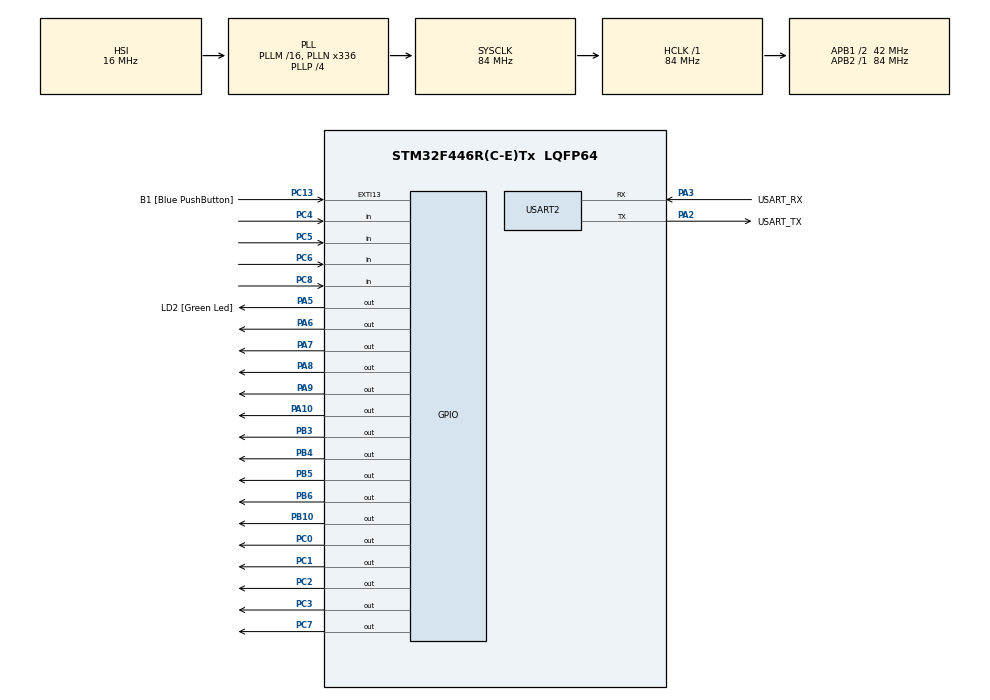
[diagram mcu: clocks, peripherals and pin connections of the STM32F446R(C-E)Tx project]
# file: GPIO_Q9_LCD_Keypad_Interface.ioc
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Mcu.Family=STM32F4
Mcu.Name=STM32F446R(C-E)Tx
Mcu.Package=LQFP64
NVIC.PriorityGroup=NVIC_PRIORITYGROUP_0
PA10.Signal=GPIO_Output
PA13.GPIO_Label=TMS
PA13.Mode=Serial_Wire
PA13.Signal=SYS_JTMS-SWDIO
PA14.GPIO_Label=TCK
PA14.Mode=Serial_Wire
PA14.Signal=SYS_JTCK-SWCLK
PA2.GPIO_Label=USART_TX
PA2.Mode=Asynchronous
PA2.Signal=USART2_TX
PA3.GPIO_Label=USART_RX
PA3.Mode=Asynchronous
PA3.Signal=USART2_RX
PA5.GPIO_Label=LD2 [Green Led]
PA5.Signal=GPIO_Output
PA6.Signal=GPIO_Output
PA7.Signal=GPIO_Output
PA8.Signal=GPIO_Output
PA9.Signal=GPIO_Output
PB10.Signal=GPIO_Output
PB3.Signal=GPIO_Output
PB4.Signal=GPIO_Output
PB5.Signal=GPIO_Output
PB6.Signal=GPIO_Output
PC0.Signal=GPIO_Output
PC1.Signal=GPIO_Output
PC13.GPIO_Label=B1 [Blue PushButton]
PC13.GPIO_ModeDefaultEXTI=GPIO_MODE_IT_FALLING
PC13.Signal=GPXTI13
PC14-OSC32_IN.Mode=LSE-External-Oscillator
PC14-OSC32_IN.Signal=RCC_OSC32_IN
PC15-OSC32_OUT.Mode=LSE-External-Oscillator
PC15-OSC32_OUT.Signal=RCC_OSC32_OUT
PC2.Signal=GPIO_Output
PC3.Signal=GPIO_Output
PC4.GPIO_PuPd=GPIO_PULLUP
PC4.Signal=GPIO_Input
PC5.GPIO_PuPd=GPIO_PULLUP
PC5.Signal=GPIO_Input
PC6.GPIO_PuPd=GPIO_PULLUP
PC6.Signal=GPIO_Input
PC7.Signal=GPIO_Output
PC8.GPIO_PuPd=GPIO_PULLUP
PC8.Signal=GPIO_Input
PH0-OSC_IN.Mode=HSE-External-Oscillator
PH0-OSC_IN.Signal=RCC_OSC_IN
PH1-OSC_OUT.Mode=HSE-External-Oscillator
PH1-OSC_OUT.Signal=RCC_OSC_OUT
ProjectManager.HeapSize=0x200
ProjectManager.StackSize=0x400
ProjectManager.TargetToolchain=STM32CubeIDE
RCC.48MHZClocksFreq_Value=84000000
RCC.AHBFreq_Value=84000000
RCC.APB1CLKDivider=RCC_HCLK_DIV2
RCC.APB1Freq_Value=42000000
RCC.APB1TimFreq_Value=84000000
RCC.APB2Freq_Value=84000000
RCC.APB2TimFreq_Value=84000000
RCC.CortexFreq_Value=84000000
RCC.FLatency-AdvancedSettings=FLASH_LATENCY_2
RCC.HCLKFreq_Value=84000000
RCC.HSE_VALUE=8000000
RCC.HSI_VALUE=16000000
RCC.PLLN=336
RCC.PLLP=RCC_PLLP_DIV4
RCC.SYSCLKFreq_VALUE=84000000
RCC.SYSCLKSource=RCC_SYSCLKSOURCE_PLLCLK
RCC.USBFreq_Value=168000000
RCC.VCOOutputFreq_Value=336000000
USART2.VirtualMode=VM_ASYNC
board=NUCLEO-F446RE

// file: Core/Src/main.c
/* USER CODE BEGIN Header */
/**
  ******************************************************************************
  * @file           : main.c
  * @brief          : Main program body
  ******************************************************************************
  * @attention
  *
  * Copyright (c) 2023 STMicroelectronics.
  * All rights reserved.
  *
  * This software is licensed under terms that can be found in the LICENSE file
  * in the root directory of this software component.
  * If no LICENSE file comes with this software, it is provided AS-IS.
  *
  ******************************************************************************
  */
/* USER CODE END Header */
#include "main.h"
#include "Lcd.h"

UART_HandleTypeDef huart2;

void SystemClock_Config(void);
static void MX_GPIO_Init(void);
static void MX_USART2_UART_Init(void);

int main(void)
{

  /* MCU Configuration--------------------------------------------------------*/

  /* Reset of all peripherals, Initializes the Flash interface and the Systick. */
  HAL_Init();

  /* Configure the system clock */
  SystemClock_Config();

  /* Initialize all configured peripherals */
  MX_GPIO_Init();
  MX_USART2_UART_Init();
  /* USER CODE BEGIN 2 */
  lcd_init();
  int count =0;
  int i[1]={count};
  /* USER CODE END 2 */

  /* Infinite loop */
  /* USER CODE BEGIN WHILE */
  while (1)
  {

	  HAL_GPIO_WritePin(GPIOC,GPIO_PIN_0,1);
	  HAL_GPIO_WritePin(GPIOC,GPIO_PIN_1,1);
	  HAL_GPIO_WritePin(GPIOC,GPIO_PIN_2,1);
	  HAL_GPIO_WritePin(GPIOC,GPIO_PIN_3,1);
	  HAL_GPIO_WritePin(GPIOC,GPIO_PIN_0,0);
//	  if(!(HAL_GPIO_ReadPin(GPIOC,GPIO_PIN_4)) && (HAL_GPIO_ReadPin(GPIOC,GPIO_PIN_5)))
//	  	  {
//
//	  		  lcd_cmd(0x01);
//	  		  HAL_Delay(1000);
//
//	  	  }
	  if(!(HAL_GPIO_ReadPin(GPIOC,GPIO_PIN_4)))
	  {
		  HAL_Delay(300);
		  printf("1 is pressed\n");
		  lcd_cmd(0x07);
		  lcd_display("1",1);
		  lcd_cmd(0x05);
	  }
	  if(!(HAL_GPIO_ReadPin(GPIOC,GPIO_PIN_5)))
	  {
		  HAL_Delay(300);
		  printf("2 is pressed\n");
		  lcd_cmd(0x07);
		  lcd_display("2",1);
		  lcd_cmd(0x05);
	  }
	  if(!(HAL_GPIO_ReadPin(GPIOC,GPIO_PIN_6)))
	  {
		  HAL_Delay(300);
		  printf("3 is pressed\n");
		  lcd_cmd(0x06);
		  lcd_display("3",1);
	  }
	  if(!(HAL_GPIO_ReadPin(GPIOC,GPIO_PIN_8)))
	  {
		  HAL_Delay(300);
		  printf("A is pressed\n");
		  lcd_cmd(0x06);
		  lcd_display("A",1);
	  }

	  HAL_GPIO_WritePin(GPIOC,GPIO_PIN_0,1);
	  HAL_GPIO_WritePin(GPIOC,GPIO_PIN_1,1);
	  HAL_GPIO_WritePin(GPIOC,GPIO_PIN_2,1);
	  HAL_GPIO_WritePin(GPIOC,GPIO_PIN_3,1);
	  HAL_GPIO_WritePin(GPIOC,GPIO_PIN_1,0);
	  if(!(HAL_GPIO_ReadPin(GPIOC,GPIO_PIN_4)))
	  {
		  HAL_Delay(300);
		  printf("4 is pressed\n");
		  HAL_Delay(300);
		  lcd_cmd(0x07);
		  lcd_display("4",1);
	  }
	  if(!(HAL_GPIO_ReadPin(GPIOC,GPIO_PIN_5)))
	  {
		  HAL_Delay(300);
		  printf("5 is pressed\n");
		  HAL_Delay(300);
		  lcd_cmd(0x07);
		  lcd_display("5",1);
	  }
	  if(!(HAL_GPIO_ReadPin(GPIOC,GPIO_PIN_6)))
	  {
		  HAL_Delay(300);
		  printf("6 is pressed\n");
		  HAL_Delay(300);
		  lcd_cmd(0x06);
		  lcd_display("6",1);
	  }
	  if(!(HAL_GPIO_ReadPin(GPIOC,GPIO_PIN_8)))
	  {
		  HAL_Delay(300);
		  printf("B is pressed\n");
		  HAL_Delay(300);
		  lcd_cmd(0x06);
		  lcd_display("B",1);
	  }

	  HAL_GPIO_WritePin(GPIOC,GPIO_PIN_0,1);
	  HAL_GPIO_WritePin(GPIOC,GPIO_PIN_1,1);
	  HAL_GPIO_WritePin(GPIOC,GPIO_PIN_2,1);
	  HAL_GPIO_WritePin(GPIOC,GPIO_PIN_3,1);
	  HAL_GPIO_WritePin(GPIOC,GPIO_PIN_2,0);
	  if(!(HAL_GPIO_ReadPin(GPIOC,GPIO_PIN_4)))
	  {
		  HAL_Delay(300);
		  printf("7 is pressed\n");
		  HAL_Delay(300);
		  lcd_cmd(0x06);
		  lcd_display("7",1);

	  }
	  if(!(HAL_GPIO_ReadPin(GPIOC,GPIO_PIN_5)))
	  {
		  HAL_Delay(300);
		  printf("8 is pressed\n");
		  HAL_Delay(300);
		  lcd_cmd(0x06);
		  lcd_display("8",1);

	  }
	  if(!(HAL_GPIO_ReadPin(GPIOC,GPIO_PIN_6)))
	  {
		  HAL_Delay(300);
		  printf("9 is pressed\n");
		  HAL_Delay(300);
		  lcd_cmd(0x06);
		  lcd_display("9",1);
	  }
	  if(!(HAL_GPIO_ReadPin(GPIOC,GPIO_PIN_8)))
	  {
		  HAL_Delay(300);
		  printf("C is pressed\n");
		  HAL_Delay(300);
		  lcd_cmd(0x06);
		  lcd_display("C",1);
	  }

	  HAL_GPIO_WritePin(GPIOC,GPIO_PIN_0,1);
	  HAL_GPIO_WritePin(GPIOC,GPIO_PIN_1,1);
	  HAL_GPIO_WritePin(GPIOC,GPIO_PIN_2,1);
	  HAL_GPIO_WritePin(GPIOC,GPIO_PIN_3,1);
	  HAL_GPIO_WritePin(GPIOC,GPIO_PIN_3,0);
	  if(!(HAL_GPIO_ReadPin(GPIOC,GPIO_PIN_4)))
	  {
		  HAL_Delay(300);
		  printf("* is pressed\n");
		  HAL_Delay(300);
		  lcd_cmd(0x06);
		  lcd_display("*",1);
	  }
	  if(!(HAL_GPIO_ReadPin(GPIOC,GPIO_PIN_5)))
	  {
		  HAL_Delay(300);
		  printf("0 is pressed\n");
		  HAL_Delay(300);
		  lcd_cmd(0x06);
		  lcd_display("0",1);
	  }
	  if(!(HAL_GPIO_ReadPin(GPIOC,GPIO_PIN_6)))
	  {
		  HAL_Delay(300);
		  printf("# is pressed\n");
		  HAL_Delay(300);
		  lcd_cmd(0x06);
		  lcd_display("#",1);
	  }
	  if(!(HAL_GPIO_ReadPin(GPIOC,GPIO_PIN_8)))
	  {
		  HAL_Delay(300);
		  printf("D is pressed\n");
		  HAL_Delay(300);
		  lcd_cmd(0x06);
		  lcd_display("D",1);
	  }
    /* USER CODE END WHILE */

  }
}

__attribute__((weak)) int _write(int file, char *ptr, int len)
{
  (void)file;
  int DataIdx;

  for (DataIdx = 0; DataIdx < len; DataIdx++)
  {
    //__io_putchar(*ptr++);
	  ITM_SendChar(*ptr++);
  }
  return len;
}

void SystemClock_Config(void)
{
  RCC_OscInitTypeDef RCC_OscInitStruct = {0};
  RCC_ClkInitTypeDef RCC_ClkInitStruct = {0};

  /** Configure the main internal regulator output voltage
  */
  __HAL_RCC_PWR_CLK_ENABLE();
  __HAL_PWR_VOLTAGESCALING_CONFIG(PWR_REGULATOR_VOLTAGE_SCALE3);

  /** Initializes the RCC Oscillators according to the specified parameters
  * in the RCC_OscInitTypeDef structure.
  */
  RCC_OscInitStruct.OscillatorType = RCC_OSCILLATORTYPE_HSI;
  RCC_OscInitStruct.HSIState = RCC_HSI_ON;
  RCC_OscInitStruct.HSICalibrationValue = RCC_HSICALIBRATION_DEFAULT;
  RCC_OscInitStruct.PLL.PLLState = RCC_PLL_ON;
  RCC_OscInitStruct.PLL.PLLSource = RCC_PLLSOURCE_HSI;
  RCC_OscInitStruct.PLL.PLLM = 16;
  RCC_OscInitStruct.PLL.PLLN = 336;
  RCC_OscInitStruct.PLL.PLLP = RCC_PLLP_DIV4;
  RCC_OscInitStruct.PLL.PLLQ = 2;
  RCC_OscInitStruct.PLL.PLLR = 2;
  if (HAL_RCC_OscConfig(&RCC_OscInitStruct) != HAL_OK)
  {
    Error_Handler();
  }

  /** Initializes the CPU, AHB and APB buses clocks
  */
  RCC_ClkInitStruct.ClockType = RCC_CLOCKTYPE_HCLK|RCC_CLOCKTYPE_SYSCLK
                              |RCC_CLOCKTYPE_PCLK1|RCC_CLOCKTYPE_PCLK2;
  RCC_ClkInitStruct.SYSCLKSource = RCC_SYSCLKSOURCE_PLLCLK;
  RCC_ClkInitStruct.AHBCLKDivider = RCC_SYSCLK_DIV1;
  RCC_ClkInitStruct.APB1CLKDivider = RCC_HCLK_DIV2;
  RCC_ClkInitStruct.APB2CLKDivider = RCC_HCLK_DIV1;

  if (HAL_RCC_ClockConfig(&RCC_ClkInitStruct, FLASH_LATENCY_2) != HAL_OK)
  {
    Error_Handler();
  }
}

static void MX_USART2_UART_Init(void)
{

  huart2.Instance = USART2;
  huart2.Init.BaudRate = 115200;
  huart2.Init.WordLength = UART_WORDLENGTH_8B;
  huart2.Init.StopBits = UART_STOPBITS_1;
  huart2.Init.Parity = UART_PARITY_NONE;
  huart2.Init.Mode = UART_MODE_TX_RX;
  huart2.Init.HwFlowCtl = UART_HWCONTROL_NONE;
  huart2.Init.OverSampling = UART_OVERSAMPLING_16;
  if (HAL_UART_Init(&huart2) != HAL_OK)
  {
    Error_Handler();
  }

}

static void MX_GPIO_Init(void)
{
  GPIO_InitTypeDef GPIO_InitStruct = {0};

  /* GPIO Ports Clock Enable */
  __HAL_RCC_GPIOC_CLK_ENABLE();
  __HAL_RCC_GPIOH_CLK_ENABLE();
  __HAL_RCC_GPIOA_CLK_ENABLE();
  __HAL_RCC_GPIOB_CLK_ENABLE();

  /*Configure GPIO pin Output Level */
  HAL_GPIO_WritePin(GPIOC, GPIO_PIN_0|GPIO_PIN_1|GPIO_PIN_2|GPIO_PIN_3
                          |GPIO_PIN_7, GPIO_PIN_RESET);

  /*Configure GPIO pin Output Level */
  HAL_GPIO_WritePin(GPIOA, LD2_Pin|GPIO_PIN_6|GPIO_PIN_7|GPIO_PIN_8
                          |GPIO_PIN_9|GPIO_PIN_10, GPIO_PIN_RESET);

  /*Configure GPIO pin Output Level */
  HAL_GPIO_WritePin(GPIOB, GPIO_PIN_10|GPIO_PIN_3|GPIO_PIN_4|GPIO_PIN_5
                          |GPIO_PIN_6, GPIO_PIN_RESET);

  /*Configure GPIO pin : B1_Pin */
  GPIO_InitStruct.Pin = B1_Pin;
  GPIO_InitStruct.Mode = GPIO_MODE_IT_FALLING;
  GPIO_InitStruct.Pull = GPIO_NOPULL;
  HAL_GPIO_Init(B1_GPIO_Port, &GPIO_InitStruct);

  /*Configure GPIO pins : PC0 PC1 PC2 PC3
                           PC7 */
  GPIO_InitStruct.Pin = GPIO_PIN_0|GPIO_PIN_1|GPIO_PIN_2|GPIO_PIN_3
                          |GPIO_PIN_7;
  GPIO_InitStruct.Mode = GPIO_MODE_OUTPUT_PP;
  GPIO_InitStruct.Pull = GPIO_NOPULL;
  GPIO_InitStruct.Speed = GPIO_SPEED_FREQ_LOW;
  HAL_GPIO_Init(GPIOC, &GPIO_InitStruct);

  /*Configure GPIO pins : LD2_Pin PA6 PA7 PA8
                           PA9 PA10 */
  GPIO_InitStruct.Pin = LD2_Pin|GPIO_PIN_6|GPIO_PIN_7|GPIO_PIN_8
                          |GPIO_PIN_9|GPIO_PIN_10;
  GPIO_InitStruct.Mode = GPIO_MODE_OUTPUT_PP;
  GPIO_InitStruct.Pull = GPIO_NOPULL;
  GPIO_InitStruct.Speed = GPIO_SPEED_FREQ_LOW;
  HAL_GPIO_Init(GPIOA, &GPIO_InitStruct);

  /*Configure GPIO pins : PC4 PC5 PC6 PC8 */
  GPIO_InitStruct.Pin = GPIO_PIN_4|GPIO_PIN_5|GPIO_PIN_6|GPIO_PIN_8;
  GPIO_InitStruct.Mode = GPIO_MODE_INPUT;
  GPIO_InitStruct.Pull = GPIO_PULLUP;
  HAL_GPIO_Init(GPIOC, &GPIO_InitStruct);

  /*Configure GPIO pins : PB10 PB3 PB4 PB5
                           PB6 */
  GPIO_InitStruct.Pin = GPIO_PIN_10|GPIO_PIN_3|GPIO_PIN_4|GPIO_PIN_5
                          |GPIO_PIN_6;
  GPIO_InitStruct.Mode = GPIO_MODE_OUTPUT_PP;
  GPIO_InitStruct.Pull = GPIO_NOPULL;
  GPIO_InitStruct.Speed = GPIO_SPEED_FREQ_LOW;
  HAL_GPIO_Init(GPIOB, &GPIO_InitStruct);

}

void Error_Handler(void)
{
  __disable_irq();
  while (1)
  {
  }
}
